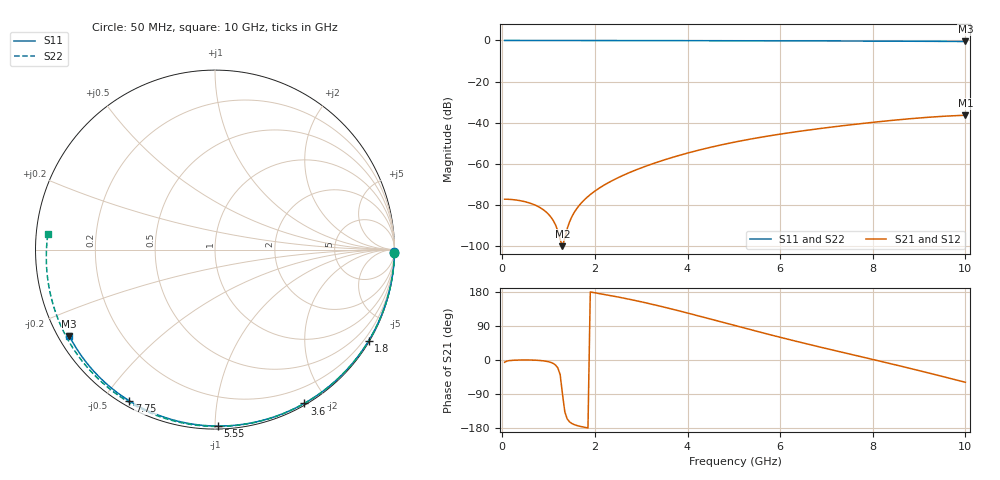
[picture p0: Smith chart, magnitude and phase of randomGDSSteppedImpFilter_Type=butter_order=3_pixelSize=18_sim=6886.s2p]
! freq	dB(S11)	phase(S11)	dB(S12)	phase(S12)
!  dB(S21)	phase(S21)	dB(S22)	phase(S22)
!S-par simulation data
#  GHz  S  DB  R 50
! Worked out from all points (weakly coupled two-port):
!   200 points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, 50 MHz to 10 GHz, reference 50 ohm
!   highest |S21| = -36.44 dB at 10 GHz (marker M1); lowest = -100.2 dB at 1.3 GHz (marker M2)
!   lowest |S11| = -0.5 dB at 10 GHz (marker M3), VSWR 34.48, Z = 1.56 - j13.7 ohm
!   |S11| at or under -10 dB: nowhere
!   |S22| runs from -0.6 to 0.0 dB; largest |S21 - S12| = 0
!   S11 on the Smith chart (normalised r, x): 50 MHz: open; 1.8 GHz: 0.03, -3.64; 3.6 GHz: 0.02, -1.74; 5.55 GHz: 0.02, -1.02; 7.75 GHz: 0.02, -0.58; 10 GHz: 0.03, -0.27
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0.05  -0.00 -0.9  -77.35 -6.0  -77.35 -6.0  -0.00 -1.1
0.4  -0.00 -6.9  -78.11 0.0  -78.11 0.0  -0.01 -8.7
0.7  -0.01 -12.1  -80.13 -0.4  -80.13 -0.4  -0.01 -15.2
1.3  -0.03 -22.3  -100.23 -90.1  -100.23 -90.1  -0.03 -28.0
1.65  -0.04 -28.2  -80.68 -174.2  -80.68 -174.2  -0.04 -35.4
1.7  -0.04 -29.0  -79.34 -175.7  -79.34 -175.7  -0.05 -36.5
1.75  -0.04 -29.9  -78.14 -177.0  -78.14 -177.0  -0.05 -37.5
1.8  -0.04 -30.7  -77.04 -178.2  -77.04 -178.2  -0.05 -38.5
1.95  -0.04 -33.2  -74.21 178.4  -74.21 178.4  -0.05 -41.6
2.1  -0.05 -35.7  -71.85 175.2  -71.85 175.2  -0.06 -44.7
2.45  -0.05 -41.5  -67.42 167.4  -67.42 167.4  -0.07 -51.9
2.9  -0.06 -48.8  -62.95 156.2  -62.95 156.2  -0.08 -60.9
3.4  -0.08 -56.7  -58.90 142.3  -58.90 142.3  -0.09 -70.6
3.6  -0.08 -59.9  -57.48 136.3  -57.48 136.3  -0.10 -74.5
4.3  -0.10 -70.7  -53.12 114.3  -53.12 114.3  -0.12 -87.6
5.05  -0.13 -81.8  -49.37 90.0  -49.37 90.0  -0.15 -101.1
5.55  -0.15 -89.1  -47.29 73.9  -47.29 73.9  -0.18 -109.9
6.7  -0.20 -105.3  -43.39 38.9  -43.39 38.9  -0.25 -129.5
7.75  -0.28 -119.5  -40.51 8.6  -40.51 8.6  -0.34 -147.0
8.35  -0.33 -127.5  -39.09 -8.7  -39.09 -8.7  -0.39 -157.0
9.2  -0.42 -138.8  -37.43 -34.0  -37.43 -34.0  -0.49 -171.4
10  -0.50 -149.4  -36.44 -58.8  -36.44 -58.8  -0.58 174.5
